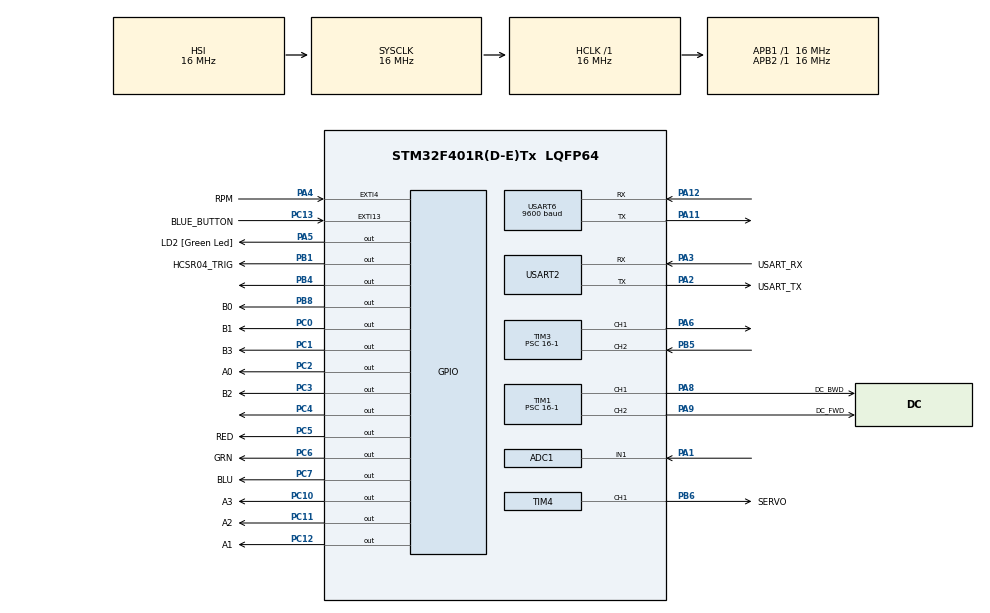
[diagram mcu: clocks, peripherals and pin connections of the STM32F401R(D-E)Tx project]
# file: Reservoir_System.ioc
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ADC1.Channel-0\#ChannelRegularConversion=ADC_CHANNEL_1
ADC1.NbrOfConversionFlag=1
ADC1.Rank-0\#ChannelRegularConversion=1
ADC1.Resolution=ADC_RESOLUTION_8B
ADC1.SamplingTime-0\#ChannelRegularConversion=ADC_SAMPLETIME_15CYCLES
ADC1.ScanConvMode=ENABLE
ADC1.master=1
Mcu.Family=STM32F4
Mcu.Name=STM32F401R(D-E)Tx
Mcu.Package=LQFP64
NVIC.EXTI4_IRQn=true\:0\:0\:false\:false\:true\:true\:true\:true
NVIC.PriorityGroup=NVIC_PRIORITYGROUP_0
NVIC.TIM3_IRQn=true\:0\:0\:false\:false\:true\:true\:true\:true
NVIC.TIM5_IRQn=true\:0\:0\:false\:false\:true\:true\:true\:true
NVIC.USART6_IRQn=true\:0\:0\:false\:false\:true\:true\:true\:true
PA1.Signal=ADCx_IN1
PA11.Mode=Asynchronous
PA11.Signal=USART6_TX
PA12.Mode=Asynchronous
PA12.Signal=USART6_RX
PA13.GPIO_Label=TMS
PA13.Mode=Serial_Wire
PA13.Signal=SYS_JTMS-SWDIO
PA14.GPIO_Label=TCK
PA14.Mode=Serial_Wire
PA14.Signal=SYS_JTCK-SWCLK
PA2.GPIO_Label=USART_TX
PA2.GPIO_Mode=GPIO_MODE_AF_PP
PA2.GPIO_PuPd=GPIO_NOPULL
PA2.GPIO_Speed=GPIO_SPEED_FREQ_LOW
PA2.Mode=Asynchronous
PA2.Signal=USART2_TX
PA3.GPIO_Label=USART_RX
PA3.GPIO_Mode=GPIO_MODE_AF_PP
PA3.GPIO_PuPd=GPIO_NOPULL
PA3.GPIO_Speed=GPIO_SPEED_FREQ_LOW
PA3.Mode=Asynchronous
PA3.Signal=USART2_RX
PA4.GPIO_Label=RPM
PA4.Signal=GPXTI4
PA5.GPIO_Label=LD2 [Green Led]
PA5.GPIO_Mode=GPIO_MODE_OUTPUT_PP
PA5.GPIO_PuPd=GPIO_NOPULL
PA5.GPIO_Speed=GPIO_SPEED_FREQ_LOW
PA5.Signal=GPIO_Output
PA6.Signal=S_TIM3_CH1
PA8.GPIO_Label=DC_BWD
PA8.Signal=S_TIM1_CH1
PA9.GPIO_Label=DC_FWD
PA9.Signal=S_TIM1_CH2
PB1.GPIO_Label=HCSR04_TRIG
PB1.Signal=GPIO_Output
PB3.GPIO_Label=SWO
PB3.Signal=SYS_JTDO-SWO
PB4.Signal=GPIO_Output
PB5.Signal=S_TIM3_CH2
PB6.GPIO_Label=SERVO
PB6.Signal=S_TIM4_CH1
PB8.GPIO_Label=B0
PB8.Signal=GPIO_Output
PC0.GPIO_Label=B1
PC0.Signal=GPIO_Output
PC1.GPIO_Label=B3
PC1.Signal=GPIO_Output
PC10.GPIO_Label=A3
PC10.Signal=GPIO_Output
PC11.GPIO_Label=A2
PC11.Signal=GPIO_Output
PC12.GPIO_Label=A1
PC12.Signal=GPIO_Output
PC13-ANTI_TAMP.GPIO_Label=BLUE_BUTTON
PC13-ANTI_TAMP.GPIO_ModeDefaultEXTI=GPIO_MODE_IT_FALLING
PC13-ANTI_TAMP.GPIO_PuPd=GPIO_NOPULL
PC13-ANTI_TAMP.Signal=GPXTI13
PC14-OSC32_IN.Mode=LSE-External-Oscillator
PC14-OSC32_IN.Signal=RCC_OSC32_IN
PC15-OSC32_OUT.Mode=LSE-External-Oscillator
PC15-OSC32_OUT.Signal=RCC_OSC32_OUT
PC2.GPIO_Label=A0
PC2.Signal=GPIO_Output
PC3.GPIO_Label=B2
PC3.Signal=GPIO_Output
PC4.Signal=GPIO_Output
PC5.GPIO_Label=RED
PC5.Signal=GPIO_Output
PC6.GPIO_Label=GRN
PC6.Signal=GPIO_Output
PC7.GPIO_Label=BLU
PC7.Signal=GPIO_Output
PH0\ -\ OSC_IN.Mode=HSE-External-Clock-Source
PH0\ -\ OSC_IN.Signal=RCC_OSC_IN
PH1\ -\ OSC_OUT.Mode=HSE-External-Clock-Source
PH1\ -\ OSC_OUT.Signal=RCC_OSC_OUT
ProjectManager.HeapSize=0x200
ProjectManager.StackSize=0x400
ProjectManager.TargetToolchain=STM32CubeIDE
RCC.48MHZClocksFreq_Value=48000000
RCC.AHBFreq_Value=16000000
RCC.APB1Freq_Value=16000000
RCC.APB1TimFreq_Value=16000000
RCC.APB2Freq_Value=16000000
RCC.APB2TimFreq_Value=16000000
RCC.CortexFreq_Value=16000000
RCC.HCLKFreq_Value=16000000
RCC.HSE_VALUE=8000000
RCC.HSI_VALUE=16000000
RCC.PLLN=336
RCC.PLLP=RCC_PLLP_DIV4
RCC.PLLQ=7
RCC.SYSCLKFreq_VALUE=16000000
RCC.VCOOutputFreq_Value=336000000
SH.ADCx_IN1.0=ADC1_IN1,IN1
SH.S_TIM1_CH1.0=TIM1_CH1,PWM Generation1 CH1
SH.S_TIM1_CH2.0=TIM1_CH2,PWM Generation2 CH2
SH.S_TIM3_CH1.0=TIM3_CH1,PWM Generation1 CH1
SH.S_TIM3_CH2.0=TIM3_CH2,Input_Capture2_from_TI2
SH.S_TIM4_CH1.0=TIM4_CH1,PWM Generation1 CH1
TIM1.Channel-PWM\ Generation1\ CH1=TIM_CHANNEL_1
TIM1.Channel-PWM\ Generation2\ CH2=TIM_CHANNEL_2
TIM1.Period=2000-1
TIM1.Prescaler=16-1
TIM1.Pulse-PWM\ Generation1\ CH1=1200-1
TIM3.AutoReloadPreload=TIM_AUTORELOAD_PRELOAD_DISABLE
TIM3.Channel-Input_Capture2_from_TI2=TIM_CHANNEL_2
TIM3.Channel-PWM\ Generation1\ CH1=TIM_CHANNEL_1
TIM3.ICPolarity_CH2=TIM_INPUTCHANNELPOLARITY_BOTHEDGE
TIM3.Period=65536-1
TIM3.Prescaler=16-1
TIM4.Channel-PWM\ Generation1\ CH1=TIM_CHANNEL_1
TIM4.Period=20000-1
TIM4.Prescaler=16-1
TIM4.Pulse-PWM\ Generation1\ CH1=500-1
TIM5.AutoReloadPreload=TIM_AUTORELOAD_PRELOAD_ENABLE
TIM5.Period=60000-1
TIM5.Prescaler=53-1
USART2.VirtualMode=VM_ASYNC
USART6.BaudRate=9600
USART6.Mode=MODE_TX_RX
USART6.VirtualMode=VM_ASYNC
VP_TIM3_VS_ClockSourceINT.Mode=Internal
VP_TIM5_VS_ClockSourceINT.Mode=Internal
board=NUCLEO-F401RE

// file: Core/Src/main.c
/* USER CODE BEGIN Header */
/**
  ******************************************************************************
  * @file           : main.c
  * @brief          : Main program body
  ******************************************************************************
  * @attention
  *
  * Copyright (c) 2024 STMicroelectronics.
  * All rights reserved.
  *
  * This software is licensed under terms that can be found in the LICENSE file
  * in the root directory of this software component.
  * If no LICENSE file comes with this software, it is provided AS-IS.
  *
  ******************************************************************************
  */
/* USER CODE END Header */
#include "main.h"

/* USER CODE BEGIN Includes */
#include <string.h>
#include <stdio.h>
/* USER CODE END Includes */

ADC_HandleTypeDef hadc1;

TIM_HandleTypeDef htim1;
TIM_HandleTypeDef htim3;
TIM_HandleTypeDef htim4;
TIM_HandleTypeDef htim5;

UART_HandleTypeDef huart2;
UART_HandleTypeDef huart6;

void SystemClock_Config(void);
static void MX_GPIO_Init(void);
static void MX_USART2_UART_Init(void);
static void MX_ADC1_Init(void);
static void MX_TIM3_Init(void);
static void MX_USART6_UART_Init(void);
static void MX_TIM5_Init(void);
static void MX_TIM1_Init(void);
static void MX_TIM4_Init(void);
/* USER CODE BEGIN PFP */
static void ADC_Select_CH(int CH);
/* USER CODE END PFP */

/* USER CODE BEGIN 0 */
void ADC_Select_CH(int CH) {
    ADC_ChannelConfTypeDef sConfig = {0};

switch(CH)
{
case 0:
sConfig.Channel = ADC_CHANNEL_0;
sConfig.Rank = 1;
if (HAL_ADC_ConfigChannel(&hadc1, &sConfig) != HAL_OK)
{
Error_Handler();
}
break;
case 1:
sConfig.Channel = ADC_CHANNEL_1;
sConfig.Rank = 1;
if (HAL_ADC_ConfigChannel(&hadc1, &sConfig) != HAL_OK)
{
Error_Handler();
}
break;
case 2:
sConfig.Channel = ADC_CHANNEL_2;
sConfig.Rank = 1;
if (HAL_ADC_ConfigChannel(&hadc1, &sConfig) != HAL_OK)
{
Error_Handler();
}
break;
case 3:
sConfig.Channel = ADC_CHANNEL_3;
sConfig.Rank = 1;
if (HAL_ADC_ConfigChannel(&hadc1, &sConfig) != HAL_OK)
{
Error_Handler();
}
break;
case 4:
sConfig.Channel = ADC_CHANNEL_4;
sConfig.Rank = 1;
if (HAL_ADC_ConfigChannel(&hadc1, &sConfig) != HAL_OK)
{
Error_Handler();
}
break;
case 5:
sConfig.Channel = ADC_CHANNEL_5;
sConfig.Rank = 1;
if (HAL_ADC_ConfigChannel(&hadc1, &sConfig) != HAL_OK)
{
Error_Handler();
}
break;
case 6:
sConfig.Channel = ADC_CHANNEL_6;
sConfig.Rank = 1;
if (HAL_ADC_ConfigChannel(&hadc1, &sConfig) != HAL_OK)
{
Error_Handler();
}
break;
case 7:
sConfig.Channel = ADC_CHANNEL_7;
sConfig.Rank = 1;
if (HAL_ADC_ConfigChannel(&hadc1, &sConfig) != HAL_OK)
{
Error_Handler();
}
break;
case 8:
sConfig.Channel = ADC_CHANNEL_8;
sConfig.Rank = 1;
if (HAL_ADC_ConfigChannel(&hadc1, &sConfig) != HAL_OK)
{
Error_Handler();
}
break;
case 9:
sConfig.Channel = ADC_CHANNEL_9;
sConfig.Rank = 1;
if (HAL_ADC_ConfigChannel(&hadc1, &sConfig) != HAL_OK)
{
Error_Handler();
}
break;
case 10:
sConfig.Channel = ADC_CHANNEL_10;
sConfig.Rank = 1;
if (HAL_ADC_ConfigChannel(&hadc1, &sConfig) != HAL_OK)
{
Error_Handler();
}
break;
case 11:
sConfig.Channel = ADC_CHANNEL_11;
sConfig.Rank = 1;
if (HAL_ADC_ConfigChannel(&hadc1, &sConfig) != HAL_OK)
{
Error_Handler();
}
break;
case 12:
sConfig.Channel = ADC_CHANNEL_12;
sConfig.Rank = 1;
if (HAL_ADC_ConfigChannel(&hadc1, &sConfig) != HAL_OK)
{
Error_Handler();
}
break;
case 13:
sConfig.Channel = ADC_CHANNEL_13;
sConfig.Rank = 1;
if (HAL_ADC_ConfigChannel(&hadc1, &sConfig) != HAL_OK)
{
Error_Handler();
}
break;
case 14:
sConfig.Channel = ADC_CHANNEL_14;
sConfig.Rank = 1;
if (HAL_ADC_ConfigChannel(&hadc1, &sConfig) != HAL_OK)
{
Error_Handler();
}
break;
case 15:
sConfig.Channel = ADC_CHANNEL_15;
sConfig.Rank = 1;
if (HAL_ADC_ConfigChannel(&hadc1, &sConfig) != HAL_OK)
{
Error_Handler();
}
break;
}
}

volatile uint8_t hcsr04_Rx_flag = 0;
volatile uint8_t first_edge = 0;
volatile uint16_t time_edge1 = 0;
volatile uint16_t time_edge2 = 0;
volatile uint8_t forcer = 0;
int setup_mode = 1;
uint8_t rcv_intpt_flag = 0;
uint8_t byte;

int connections[4] = {0};
int pwms[4] = {0};
int starts[4] = {0};
int stops[4] = {0};

int button_pushed = 0;
int rpm_tick_count = 0;

volatile uint8_t clock_hours = 0;
volatile uint8_t clock_mins = 0;
volatile uint16_t rpm_mins = 0;
volatile uint8_t clock_secs = 0;
volatile int depth = 1;

volatile int wall_clock_hr_update_flag = 0;
volatile int read_depth_flag = 0;

int active_zone = 0;

int manual_control = 0;

uint8_t ADC_CH9;

void change_pipe(void) {
	uint8_t txd_msg_buffer[64];
	for (int i=0; i<4; i++) {
		if (starts[i] == clock_hours){
			active_zone = i;
		    return;
		}
		else if (stops[i] == clock_hours) {
			HAL_UART_Transmit(&huart6, txd_msg_buffer, strlen((char*)txd_msg_buffer), 1000);
			active_zone = -1;
		}
	}
}

void emergency_mode() {
		uint8_t txd_msg_buffer[64];
		sprintf((char*)txd_msg_buffer, "\r\nRESERVOIR EMPTY!");
		HAL_UART_Transmit(&huart6, txd_msg_buffer, strlen((char*)txd_msg_buffer), 1000);
		HAL_TIM_PWM_Stop(&htim1, TIM_CHANNEL_1);
		while (1) {
			HAL_GPIO_WritePin(GPIOC, GRN_Pin, GPIO_PIN_SET);
			HAL_GPIO_WritePin(GPIOC, RED_Pin, GPIO_PIN_SET);
			HAL_GPIO_WritePin(GPIOC, BLU_Pin, GPIO_PIN_SET);
			HAL_Delay(500);
			HAL_GPIO_WritePin(GPIOC, GRN_Pin, GPIO_PIN_RESET);
			HAL_GPIO_WritePin(GPIOC, RED_Pin, GPIO_PIN_RESET);
			HAL_GPIO_WritePin(GPIOC, BLU_Pin, GPIO_PIN_RESET);
			HAL_Delay(500);
		}
	}

uint16_t time_diff = 0;
uint16_t distance = 0;

/* USER CODE END 0 */

int main(void)
{

  /* USER CODE BEGIN 1 */
	uint8_t txd_msg_buffer[64] = {'h'};

	void set_timer(uint8_t DIGIT_A, uint8_t DIGIT_B) {
				uint8_t DIGITA_VAL = 0x0F & DIGIT_A; //mask off higher4 bits
				 int Abit0 = (DIGITA_VAL ) & 1;  	// extract Abit0 of the 4-bit value
				 int Abit1 = (DIGITA_VAL >> 1) & 1;  // extract Abit1 of the 4-bit value
				 int Abit2 = (DIGITA_VAL >> 2) & 1;  // extract Abit2 of the 4-bit value
				 int Abit3 = (DIGITA_VAL >> 3) & 1;  // extract Abit3 of the 4-bit value

				 uint8_t DIGITB_VAL = 0x0F & DIGIT_B; //mask off higher4 bits
				 int Bbit0 = (DIGITB_VAL ) & 1;  	// extract Bbit0 of the 4-bit value
				 int Bbit1 = (DIGITB_VAL >> 1) & 1;  // extract Bbit1 of the 4-bit value
				 int Bbit2 = (DIGITB_VAL >> 2) & 1;  // extract Bbit2 of the 4-bit value
				 int Bbit3 = (DIGITB_VAL >> 3) & 1;  // extract Bbit3 of the 4-bit value

				 if (Abit0 == (0))
				 {
					 HAL_GPIO_WritePin(GPIOC, A0_Pin, GPIO_PIN_RESET);
				 }
				 else
				 {
					 HAL_GPIO_WritePin(GPIOC, A0_Pin, GPIO_PIN_SET);

				 }
				 if (Abit1 == (0))
				 {
					 HAL_GPIO_WritePin(GPIOC, A1_Pin, GPIO_PIN_RESET);
				 }
				 else
				 {
					 HAL_GPIO_WritePin(GPIOC, A1_Pin, GPIO_PIN_SET);

				 }
				 if (Abit2 == (0))
				 {
					 HAL_GPIO_WritePin(GPIOC, A2_Pin, GPIO_PIN_RESET);
				 }
				 else
				 {
					 HAL_GPIO_WritePin(GPIOC, A2_Pin, GPIO_PIN_SET);

				 }
				 if (Abit3 == (0))
				 {
					 HAL_GPIO_WritePin(GPIOC, A3_Pin, GPIO_PIN_RESET);
				 }
				 else
				 {
					 HAL_GPIO_WritePin(GPIOC, A3_Pin, GPIO_PIN_SET);

				 }

				 if (Bbit0 == (0))
				 {
					 HAL_GPIO_WritePin(GPIOB, B0_Pin, GPIO_PIN_RESET);
				 }
				 else
				 {
					 HAL_GPIO_WritePin(GPIOC, B0_Pin, GPIO_PIN_SET);

				 }
				 if (Bbit1 == (0))
				 {
					 HAL_GPIO_WritePin(GPIOC, B1_Pin, GPIO_PIN_RESET);
				 }
				 else
				 {
					 HAL_GPIO_WritePin(GPIOC, B1_Pin, GPIO_PIN_SET);

				 }
				 if (Bbit2 == (0))
				 {
					 HAL_GPIO_WritePin(GPIOC, B2_Pin, GPIO_PIN_RESET);
				 }
				 else
				 {
					 HAL_GPIO_WritePin(GPIOC, B2_Pin, GPIO_PIN_SET);

				 }
				 if (Bbit3 == (0))
				 {
					 HAL_GPIO_WritePin(GPIOC, B3_Pin, GPIO_PIN_RESET);
				 }
				 else
				 {
					 HAL_GPIO_WritePin(GPIOC, B3_Pin, GPIO_PIN_SET);

				 }

		}

	void HCSR04_TRIG_PULSE(void) {
				HAL_GPIO_WritePin(HCSR04_TRIG_GPIO_Port, HCSR04_TRIG_Pin, GPIO_PIN_SET);
				for (int j=0; j!=15; j++) {};
				HAL_GPIO_WritePin(HCSR04_TRIG_GPIO_Port, HCSR04_TRIG_Pin, GPIO_PIN_RESET);
			}

	void read_depth(void) {
			hcsr04_Rx_flag = 0;
			 first_edge = 0;
			 time_edge1 = 0;
			 time_edge2 = 0;
			 time_diff = 0;
			 distance = 0;

			 HCSR04_TRIG_PULSE();

			 HAL_GPIO_WritePin(GPIOB, GPIO_PIN_4, GPIO_PIN_SET);

			 while(hcsr04_Rx_flag == 0){

			 };

			 time_diff = time_edge2 - time_edge1;

			 depth = 100 - time_diff/58 * 5;

			 if (depth < 0) {
				 emergency_mode();
			 }

			 set_timer((int)(depth/10), depth%10);
		}

	void reset_outputs() {
		TIM1->CCR2 = 0;
		TIM1->CCR1 = 0;
		HAL_GPIO_WritePin(GPIOC, GRN_Pin, GPIO_PIN_RESET);
		HAL_GPIO_WritePin(GPIOC, RED_Pin, GPIO_PIN_RESET);
		HAL_GPIO_WritePin(GPIOC, BLU_Pin, GPIO_PIN_RESET);
	}

	//HAL_GPIO_WritePin(GPIOC, B1_Pin|B3_Pin|A0_Pin|B2_Pin
//    |GPIO_PIN_4|RED_Pin|GRN_Pin|BLU_Pin
//    |A3_Pin|A2_Pin|A1_Pin, GPIO_PIN_RESET);

	void set_motor(uint8_t percent, int forward) {
		rpm_mins = 1;
		rpm_tick_count = 0;

		if (percent == 0) manual_control = 1;
		else manual_control = 0;

		if (manual_control) {
			//manual control, set to adc value
			ADC_Select_CH(1);
			HAL_ADC_Start(&hadc1);
			HAL_ADC_PollForConversion(&hadc1, 1000);
			ADC_CH9 = HAL_ADC_GetValue(&hadc1);
			HAL_ADC_Stop(&hadc1);
			//turn adc into percent by multipling by 100 and dividing by 255
			percent = ADC_CH9 * 100 / 255;
		}

		if (forward) {
			TIM1->CCR2 = 0;
			TIM1->CCR1 = percent ? (uint32_t)(2000*percent/100) - 1 : 0;
		} else {
			TIM1->CCR1 = 0;
			TIM1->CCR2 = percent ? (uint32_t)(2000*percent/100) - 1 : 0;
		}
	}

	void set_servo(int pipe) {
		switch(pipe){
			case 0:
				TIM4->CCR1 = 500;
				break;
			case 1:
				TIM4->CCR1 = 1167;
				break;
			case 2:
				TIM4->CCR1 = 1833;
				break;
			case 3:
				TIM4->CCR1 = 2500;
				break;

		}
	}

	void set_led(int pipe) {
		switch(pipe) {
		 	 case 0:
		 		 HAL_GPIO_WritePin(GPIOC, GRN_Pin, GPIO_PIN_RESET);
		 		 HAL_GPIO_WritePin(GPIOC, RED_Pin, GPIO_PIN_SET);
		 		 HAL_GPIO_WritePin(GPIOC, BLU_Pin, GPIO_PIN_SET);
		 		 break;
		 	 case 1:
		 		 HAL_GPIO_WritePin(GPIOC, RED_Pin, GPIO_PIN_SET);
		 		 HAL_GPIO_WritePin(GPIOC, GRN_Pin, GPIO_PIN_RESET);
		 		 HAL_GPIO_WritePin(GPIOC, BLU_Pin, GPIO_PIN_RESET);
		 		 break;
		 	 case 2:
		 		HAL_GPIO_WritePin(GPIOC, GRN_Pin, GPIO_PIN_SET);
		 		HAL_GPIO_WritePin(GPIOC, RED_Pin, GPIO_PIN_RESET);
		 		HAL_GPIO_WritePin(GPIOC, GRN_Pin, GPIO_PIN_SET);
		 		break;
		 	 case 3:
		 		HAL_GPIO_WritePin(GPIOC, GRN_Pin, GPIO_PIN_RESET);
		 		HAL_GPIO_WritePin(GPIOC, RED_Pin, GPIO_PIN_RESET);
		 		HAL_GPIO_WritePin(GPIOC, BLU_Pin, GPIO_PIN_SET);

		}
	}

	void print_diagnostics(void) {
//HOURS | MINS | ZONE | MOTOR SPEED | MOTOR RPM | RESERVOIR DEPTH

		sprintf((char*)txd_msg_buffer, "\r\n%d, %d, %d, %d, %d, %d", clock_hours,
				clock_mins, active_zone, active_zone != -1 ? (pwms[active_zone] ?
				pwms[0] : ADC_CH9) : 0,
				rpm_tick_count*12/rpm_mins, depth);
		HAL_UART_Transmit(&huart6, txd_msg_buffer, strlen((char*)txd_msg_buffer), 1000);
	}

  /* USER CODE END 1 */

  /* MCU Configuration--------------------------------------------------------*/

  /* Reset of all peripherals, Initializes the Flash interface and the Systick. */
  HAL_Init();

  /* Configure the system clock */
  SystemClock_Config();

  /* Initialize all configured peripherals */
  MX_GPIO_Init();
  MX_USART2_UART_Init();
  MX_ADC1_Init();
  MX_TIM3_Init();
  MX_USART6_UART_Init();
  MX_TIM5_Init();
  MX_TIM1_Init();
  MX_TIM4_Init();
  /* USER CODE BEGIN 2 */
  HAL_TIM_Base_Init(&htim3);
  HAL_TIM_Base_Start(&htim3);
  HAL_TIM_IC_Start_IT(&htim3, TIM_CHANNEL_2);
  HAL_TIM_Base_Init(&htim1);
  HAL_TIM_PWM_Start(&htim1, TIM_CHANNEL_1);
  HAL_TIM_PWM_Start(&htim1, TIM_CHANNEL_2);
  TIM1->CCR1 = 0;
  clock_hours = 0;
  clock_mins = 0;
  clock_secs = 0;

  HAL_TIM_Base_Start(&htim4);
  TIM4->PSC = 16-1;
  TIM4->ARR = 20000-1;

  /* USER CODE END 2 */

  /* Infinite loop */
  /* USER CODE BEGIN WHILE */
  sprintf((char*)txd_msg_buffer, "\r\nFIRST PIPELINE CHOICE FOR CONNECTION: ");
  while (1)
  {
	  if (setup_mode) {
		  rcv_intpt_flag = 00;
		  HAL_UART_Transmit(&huart6, txd_msg_buffer, strlen((char*)txd_msg_buffer), 1000);
		  HAL_UART_Receive_IT(&huart6, &byte, 1);
		  while(rcv_intpt_flag == 00) {};
		  connections[0] = (byte-'0');
		  rcv_intpt_flag = 00;

		  sprintf((char*)txd_msg_buffer, "\r\nFIRST PIPELINE CHOICE FOR MOTOR PWM: ");
		  HAL_UART_Transmit(&huart6, txd_msg_buffer, strlen((char*)txd_msg_buffer), 1000);
		  HAL_UART_Receive_IT(&huart6, &byte, 1);
		  while(rcv_intpt_flag == 00) {};
		  rcv_intpt_flag = 00;
		  pwms[0] += (byte-'0')*10;
		  HAL_UART_Receive_IT(&huart6, &byte, 1);
		  while(rcv_intpt_flag == 00) {};
		  pwms[0] += (byte-'0');
		  rcv_intpt_flag = 00;

		  sprintf((char*)txd_msg_buffer, "\r\nSECOND ZONE CHOICE FOR CONNECTION: ");
		  HAL_UART_Transmit(&huart6, txd_msg_buffer, strlen((char*)txd_msg_buffer), 1000);
		  HAL_UART_Receive_IT(&huart6, &byte, 1);
		  while(rcv_intpt_flag == 00) {};
		  connections[1] = (byte-'0');
		  rcv_intpt_flag = 00;

		  sprintf((char*)txd_msg_buffer, "\r\nSECOND PIPELINE CHOICE FOR MOTOR PWM: ");
		  HAL_UART_Transmit(&huart6, txd_msg_buffer, strlen((char*)txd_msg_buffer), 1000);
		  HAL_UART_Receive_IT(&huart6, &byte, 1);
		  while(rcv_intpt_flag == 00) {};
		  rcv_intpt_flag = 00;
		  pwms[1] += (byte-'0')*10;
		  HAL_UART_Receive_IT(&huart6, &byte, 1);
		  while(rcv_intpt_flag == 00) {};
		  pwms[1] += (byte-'0');
		  rcv_intpt_flag = 00;

		  sprintf((char*)txd_msg_buffer, "\r\nTHIRD ZONE CHOICE FOR CONNECTION: ");
		  HAL_UART_Transmit(&huart6, txd_msg_buffer, strlen((char*)txd_msg_buffer), 1000);
		  HAL_UART_Receive_IT(&huart6, &byte, 1);
		  while(rcv_intpt_flag == 00) {};
		  connections[2] = (byte-'0');
		  rcv_intpt_flag = 00;

		  sprintf((char*)txd_msg_buffer, "\r\nTHIRD PIPELINE CHOICE FOR MOTOR PWM: ");
		  HAL_UART_Transmit(&huart6, txd_msg_buffer, strlen((char*)txd_msg_buffer), 1000);
		  HAL_UART_Receive_IT(&huart6, &byte, 1);
		  while(rcv_intpt_flag == 00) {};
		  rcv_intpt_flag = 00;
		  pwms[2] += (byte-'0')*10;
		  HAL_UART_Receive_IT(&huart6, &byte, 1);
		  while(rcv_intpt_flag == 00) {};
		  pwms[2] += (byte-'0');
		  rcv_intpt_flag = 00;

		  sprintf((char*)txd_msg_buffer, "\r\nFOURTH ZONE CHOICE FOR CONNECTION: ");
		  HAL_UART_Transmit(&huart6, txd_msg_buffer, strlen((char*)txd_msg_buffer), 1000);
		  HAL_UART_Receive_IT(&huart6, &byte, 1);
		  while(rcv_intpt_flag == 00) {};
		  connections[3] = (byte-'0');
		  rcv_intpt_flag = 00;

		  sprintf((char*)txd_msg_buffer, "\r\nFOURTH PIPELINE CHOICE FOR MOTOR PWM: ");
		  HAL_UART_Transmit(&huart6, txd_msg_buffer, strlen((char*)txd_msg_buffer), 1000);
		  HAL_UART_Receive_IT(&huart6, &byte, 1);
		  while(rcv_intpt_flag == 00) {};
		  rcv_intpt_flag = 00;
		  pwms[3] += (byte-'0')*10;
		  HAL_UART_Receive_IT(&huart6, &byte, 1);
		  while(rcv_intpt_flag == 00) {};
		  pwms[3] += (byte-'0');
		  rcv_intpt_flag = 00;

		  // setup part b:
		  sprintf((char*)txd_msg_buffer, "\r\nINLET WALL CLOCK START TIME: ");
		  rcv_intpt_flag = 00;
		  HAL_UART_Transmit(&huart6, txd_msg_buffer, strlen((char*)txd_msg_buffer), 1000);
		  HAL_UART_Receive_IT(&huart6, &byte, 1);
		  while(rcv_intpt_flag == 00) {};
		  rcv_intpt_flag = 00;
		  starts[0] += (byte-'0')*10;
		  HAL_UART_Receive_IT(&huart6, &byte, 1);
		  while(rcv_intpt_flag == 00) {};
		  starts[0] += (byte-'0');
		  rcv_intpt_flag = 00;

		  sprintf((char*)txd_msg_buffer, "\r\nINLET WALL CLOCK STOP TIME: ");
		  HAL_UART_Transmit(&huart6, txd_msg_buffer, strlen((char*)txd_msg_buffer), 1000);
		  HAL_UART_Receive_IT(&huart6, &byte, 1);
		  while(rcv_intpt_flag == 00) {};
		  rcv_intpt_flag = 00;
		  stops[0] += (byte-'0')*10;
		  HAL_UART_Receive_IT(&huart6, &byte, 1);
		  while(rcv_intpt_flag == 00) {};
		  stops[0] += (byte-'0');
		  rcv_intpt_flag = 00;

		  sprintf((char*)txd_msg_buffer, "\r\nFIRST ZONE WALL CLOCK START TIME: ");
		  HAL_UART_Transmit(&huart6, txd_msg_buffer, strlen((char*)txd_msg_buffer), 1000);
		  HAL_UART_Receive_IT(&huart6, &byte, 1);
		  while(rcv_intpt_flag == 00) {};
		  rcv_intpt_flag = 00;
		  starts[1] += (byte-'0')*10;
		  HAL_UART_Receive_IT(&huart6, &byte, 1);
		  while(rcv_intpt_flag == 00) {};
		  starts[1] += (byte-'0');
		  rcv_intpt_flag = 00;

		  sprintf((char*)txd_msg_buffer, "\r\nFIRST ZONE WALL CLOCK STOP TIME: ");
		  HAL_UART_Transmit(&huart6, txd_msg_buffer, strlen((char*)txd_msg_buffer), 1000);
		  HAL_UART_Receive_IT(&huart6, &byte, 1);
		  while(rcv_intpt_flag == 00) {};
		  rcv_intpt_flag = 00;
		  stops[1] += (byte-'0')*10;
		  HAL_UART_Receive_IT(&huart6, &byte, 1);
		  while(rcv_intpt_flag == 00) {};
		  stops[1] += (byte-'0');
		  rcv_intpt_flag = 00;

		  sprintf((char*)txd_msg_buffer, "\r\nSECOND ZONE WALL CLOCK START TIME: ");
		  HAL_UART_Transmit(&huart6, txd_msg_buffer, strlen((char*)txd_msg_buffer), 1000);
		  HAL_UART_Receive_IT(&huart6, &byte, 1);
		  while(rcv_intpt_flag == 00) {};
		  rcv_intpt_flag = 00;
		  starts[2] += (byte-'0')*10;
		  HAL_UART_Receive_IT(&huart6, &byte, 1);
		  while(rcv_intpt_flag == 00) {};
		  starts[2] += (byte-'0');
		  rcv_intpt_flag = 00;

		  sprintf((char*)txd_msg_buffer, "\r\nSECOND ZONE WALL CLOCK STOP TIME: ");
		  HAL_UART_Transmit(&huart6, txd_msg_buffer, strlen((char*)txd_msg_buffer), 1000);
		  HAL_UART_Receive_IT(&huart6, &byte, 1);
		  while(rcv_intpt_flag == 00) {};
		  rcv_intpt_flag = 00;
		  stops[2] += (byte-'0')*10;
		  HAL_UART_Receive_IT(&huart6, &byte, 1);
		  while(rcv_intpt_flag == 00) {};
		  stops[2] += (byte-'0');
		  rcv_intpt_flag = 00;

		  sprintf((char*)txd_msg_buffer, "\r\nTHIRD ZONE WALL CLOCK START TIME: ");
		  HAL_UART_Transmit(&huart6, txd_msg_buffer, strlen((char*)txd_msg_buffer), 1000);
		  HAL_UART_Receive_IT(&huart6, &byte, 1);
		  while(rcv_intpt_flag == 00) {};
		  rcv_intpt_flag = 00;
		  starts[3] += (byte-'0')*10;
		  HAL_UART_Receive_IT(&huart6, &byte, 1);
		  while(rcv_intpt_flag == 00) {};
		  starts[3] += (byte-'0');
		  rcv_intpt_flag = 00;

		  sprintf((char*)txd_msg_buffer, "\r\nTHIRD ZONE WALL CLOCK STOP TIME: ");
		  HAL_UART_Transmit(&huart6, txd_msg_buffer, strlen((char*)txd_msg_buffer), 1000);
		  HAL_UART_Receive_IT(&huart6, &byte, 1);
		  while(rcv_intpt_flag == 00) {};
		  rcv_intpt_flag = 00;
		  stops[3] += (byte-'0')*10;
		  HAL_UART_Receive_IT(&huart6, &byte, 1);
		  while(rcv_intpt_flag == 00) {};
		  stops[3] += (byte-'0');
		  rcv_intpt_flag = 00;

		  setup_mode = 0;

		  sprintf((char*)txd_msg_buffer, "\r\nSETUP MODE COMPLETE!");
		  HAL_UART_Transmit(&huart6, txd_msg_buffer, strlen((char*)txd_msg_buffer), 1000);

		  sprintf((char*)txd_msg_buffer, "\r\nPARAMETERS: ");
		  HAL_UART_Transmit(&huart6, txd_msg_buffer, strlen((char*)txd_msg_buffer), 1000);

		  sprintf((char*)txd_msg_buffer, "\r\nCONNECTION 1: %d", connections[0]);
		  HAL_UART_Transmit(&huart6, txd_msg_buffer, strlen((char*)txd_msg_buffer), 1000);

		  sprintf((char*)txd_msg_buffer, "\r\nPWM 1: %d", pwms[0]);
		  HAL_UART_Transmit(&huart6, txd_msg_buffer, strlen((char*)txd_msg_buffer), 1000);

		  sprintf((char*)txd_msg_buffer, "\r\nCONNECTION 2: %d", connections[1]);
		  HAL_UART_Transmit(&huart6, txd_msg_buffer, strlen((char*)txd_msg_buffer), 1000);

		  sprintf((char*)txd_msg_buffer, "\r\nPWM 2: %d", pwms[1]);
		  HAL_UART_Transmit(&huart6, txd_msg_buffer, strlen((char*)txd_msg_buffer), 1000);

		  sprintf((char*)txd_msg_buffer, "\r\nCONNECTION 3: %d", connections[2]);
		  HAL_UART_Transmit(&huart6, txd_msg_buffer, strlen((char*)txd_msg_buffer), 1000);

		  sprintf((char*)txd_msg_buffer, "\r\nPWM 3: %d", pwms[2]);
		  HAL_UART_Transmit(&huart6, txd_msg_buffer, strlen((char*)txd_msg_buffer), 1000);

		  sprintf((char*)txd_msg_buffer, "\r\nCONNECTION 4: %d", connections[3]);
		  HAL_UART_Transmit(&huart6, txd_msg_buffer, strlen((char*)txd_msg_buffer), 1000);

		  sprintf((char*)txd_msg_buffer, "\r\nPWM 4: %d", pwms[3]);
		  HAL_UART_Transmit(&huart6, txd_msg_buffer, strlen((char*)txd_msg_buffer), 1000);

		  sprintf((char*)txd_msg_buffer, "\r\nSTART INLET: %d", starts[0]);
		  HAL_UART_Transmit(&huart6, txd_msg_buffer, strlen((char*)txd_msg_buffer), 1000);

		  sprintf((char*)txd_msg_buffer, "\r\nSTOP INLET: %d", stops[0]);
		  HAL_UART_Transmit(&huart6, txd_msg_buffer, strlen((char*)txd_msg_buffer), 1000);

		  sprintf((char*)txd_msg_buffer, "\r\nSTART ZONE 1: %d", starts[1]);
		  HAL_UART_Transmit(&huart6, txd_msg_buffer, strlen((char*)txd_msg_buffer), 1000);

		  sprintf((char*)txd_msg_buffer, "\r\nSTOP ZONE 1 %d", stops[1]);
		  HAL_UART_Transmit(&huart6, txd_msg_buffer, strlen((char*)txd_msg_buffer), 1000);

		  sprintf((char*)txd_msg_buffer, "\r\nSTART ZONE 2: %d", starts[2]);
		  HAL_UART_Transmit(&huart6, txd_msg_buffer, strlen((char*)txd_msg_buffer), 1000);

		  sprintf((char*)txd_msg_buffer, "\r\nSTOP ZONE 2: %d", stops[2]);
		  HAL_UART_Transmit(&huart6, txd_msg_buffer, strlen((char*)txd_msg_buffer), 1000);

		  sprintf((char*)txd_msg_buffer, "\r\nSTART ZONE 3: %d", starts[3]);
		  HAL_UART_Transmit(&huart6, txd_msg_buffer, strlen((char*)txd_msg_buffer), 1000);

		  sprintf((char*)txd_msg_buffer, "\r\nSTOP ZONE 3: %d", stops[3]);
		  HAL_UART_Transmit(&huart6, txd_msg_buffer, strlen((char*)txd_msg_buffer), 1000);

		  sprintf((char*)txd_msg_buffer, "\r\nPRESS BLUE PUSHBUTTON TO CONTINUE");
		  HAL_UART_Transmit(&huart6, txd_msg_buffer, strlen((char*)txd_msg_buffer), 1000);

		  HAL_NVIC_SetPriority(EXTI15_10_IRQn, 2, 0); // Set priority for EXTI lines 10-15
		  HAL_NVIC_EnableIRQ(EXTI15_10_IRQn);

		  while (!button_pushed) {
			  HAL_GPIO_WritePin(GPIOC, GRN_Pin, GPIO_PIN_SET);

			  HAL_Delay(500);
			  HAL_GPIO_WritePin(GPIOC, GRN_Pin, GPIO_PIN_RESET);
			  HAL_Delay(500);

		  }

		  change_pipe();

		  HAL_TIM_Base_Start_IT(&htim5);
		  HAL_TIM_PWM_Start(&htim4, TIM_CHANNEL_1);

		  reset_outputs();

		  sprintf((char*)txd_msg_buffer, "\r\nHOURS | MINS | ZONE | MOTOR SPEED | MOTOR RPM | RESERVOIR DEPTH");
		  HAL_UART_Transmit(&huart6, txd_msg_buffer, strlen((char*)txd_msg_buffer), 1000);
		  read_depth();
		  print_diagnostics();

	  }
	  else {

		  //ok we have all of our settings. Now we must start the inlet
		 set_led(connections[active_zone]);
		 set_servo(connections[active_zone]);
		 set_motor(pwms[active_zone], active_zone != 0);
		 //keep checking for hour change
		 if (active_zone != -1) {
			 set_led(connections[active_zone]);
			 set_servo(connections[active_zone]);
			 set_motor(pwms[active_zone], active_zone!=0);
		 } else {
			 reset_outputs();
		 }
		 read_depth();
		 while (!wall_clock_hr_update_flag) {}

		 change_pipe();
		 print_diagnostics();

		 wall_clock_hr_update_flag = 0;
		}

	  if (clock_hours >= 24) {
		  reset_outputs();
		  while (1) {}
	  }

    /* USER CODE END WHILE */

  }
}

void SystemClock_Config(void)
{
  RCC_OscInitTypeDef RCC_OscInitStruct = {0};
  RCC_ClkInitTypeDef RCC_ClkInitStruct = {0};

  /** Configure the main internal regulator output voltage
  */
  __HAL_RCC_PWR_CLK_ENABLE();
  __HAL_PWR_VOLTAGESCALING_CONFIG(PWR_REGULATOR_VOLTAGE_SCALE2);

  /** Initializes the RCC Oscillators according to the specified parameters
  * in the RCC_OscInitTypeDef structure.
  */
  RCC_OscInitStruct.OscillatorType = RCC_OSCILLATORTYPE_HSI;
  RCC_OscInitStruct.HSIState = RCC_HSI_ON;
  RCC_OscInitStruct.HSICalibrationValue = RCC_HSICALIBRATION_DEFAULT;
  RCC_OscInitStruct.PLL.PLLState = RCC_PLL_NONE;
  if (HAL_RCC_OscConfig(&RCC_OscInitStruct) != HAL_OK)
  {
    Error_Handler();
  }

  /** Initializes the CPU, AHB and APB buses clocks
  */
  RCC_ClkInitStruct.ClockType = RCC_CLOCKTYPE_HCLK|RCC_CLOCKTYPE_SYSCLK
                              |RCC_CLOCKTYPE_PCLK1|RCC_CLOCKTYPE_PCLK2;
  RCC_ClkInitStruct.SYSCLKSource = RCC_SYSCLKSOURCE_HSI;
  RCC_ClkInitStruct.AHBCLKDivider = RCC_SYSCLK_DIV1;
  RCC_ClkInitStruct.APB1CLKDivider = RCC_HCLK_DIV1;
  RCC_ClkInitStruct.APB2CLKDivider = RCC_HCLK_DIV1;

  if (HAL_RCC_ClockConfig(&RCC_ClkInitStruct, FLASH_LATENCY_0) != HAL_OK)
  {
    Error_Handler();
  }
}

static void MX_ADC1_Init(void)
{

  ADC_ChannelConfTypeDef sConfig = {0};

  /** Configure the global features of the ADC (Clock, Resolution, Data Alignment and number of conversion)
  */
  hadc1.Instance = ADC1;
  hadc1.Init.ClockPrescaler = ADC_CLOCK_SYNC_PCLK_DIV2;
  hadc1.Init.Resolution = ADC_RESOLUTION_8B;
  hadc1.Init.ScanConvMode = ENABLE;
  hadc1.Init.ContinuousConvMode = DISABLE;
  hadc1.Init.DiscontinuousConvMode = DISABLE;
  hadc1.Init.ExternalTrigConvEdge = ADC_EXTERNALTRIGCONVEDGE_NONE;
  hadc1.Init.ExternalTrigConv = ADC_SOFTWARE_START;
  hadc1.Init.DataAlign = ADC_DATAALIGN_RIGHT;
  hadc1.Init.NbrOfConversion = 1;
  hadc1.Init.DMAContinuousRequests = DISABLE;
  hadc1.Init.EOCSelection = ADC_EOC_SINGLE_CONV;
  if (HAL_ADC_Init(&hadc1) != HAL_OK)
  {
    Error_Handler();
  }

  /** Configure for the selected ADC regular channel its corresponding rank in the sequencer and its sample time.
  */
  sConfig.Channel = ADC_CHANNEL_1;
  sConfig.Rank = 1;
  sConfig.SamplingTime = ADC_SAMPLETIME_15CYCLES;
  if (HAL_ADC_ConfigChannel(&hadc1, &sConfig) != HAL_OK)
  {
    Error_Handler();
  }

}

static void MX_TIM1_Init(void)
{

  TIM_MasterConfigTypeDef sMasterConfig = {0};
  TIM_OC_InitTypeDef sConfigOC = {0};
  TIM_BreakDeadTimeConfigTypeDef sBreakDeadTimeConfig = {0};

  htim1.Instance = TIM1;
  htim1.Init.Prescaler = 16-1;
  htim1.Init.CounterMode = TIM_COUNTERMODE_UP;
  htim1.Init.Period = 2000-1;
  htim1.Init.ClockDivision = TIM_CLOCKDIVISION_DIV1;
  htim1.Init.RepetitionCounter = 0;
  htim1.Init.AutoReloadPreload = TIM_AUTORELOAD_PRELOAD_DISABLE;
  if (HAL_TIM_PWM_Init(&htim1) != HAL_OK)
  {
    Error_Handler();
  }
  sMasterConfig.MasterOutputTrigger = TIM_TRGO_RESET;
  sMasterConfig.MasterSlaveMode = TIM_MASTERSLAVEMODE_DISABLE;
  if (HAL_TIMEx_MasterConfigSynchronization(&htim1, &sMasterConfig) != HAL_OK)
  {
    Error_Handler();
  }
  sConfigOC.OCMode = TIM_OCMODE_PWM1;
  sConfigOC.Pulse = 1200-1;
  sConfigOC.OCPolarity = TIM_OCPOLARITY_HIGH;
  sConfigOC.OCNPolarity = TIM_OCNPOLARITY_HIGH;
  sConfigOC.OCFastMode = TIM_OCFAST_DISABLE;
  sConfigOC.OCIdleState = TIM_OCIDLESTATE_RESET;
  sConfigOC.OCNIdleState = TIM_OCNIDLESTATE_RESET;
  if (HAL_TIM_PWM_ConfigChannel(&htim1, &sConfigOC, TIM_CHANNEL_1) != HAL_OK)
  {
    Error_Handler();
  }
  sConfigOC.Pulse = 0;
  if (HAL_TIM_PWM_ConfigChannel(&htim1, &sConfigOC, TIM_CHANNEL_2) != HAL_OK)
  {
    Error_Handler();
  }
  sBreakDeadTimeConfig.OffStateRunMode = TIM_OSSR_DISABLE;
  sBreakDeadTimeConfig.OffStateIDLEMode = TIM_OSSI_DISABLE;
  sBreakDeadTimeConfig.LockLevel = TIM_LOCKLEVEL_OFF;
  sBreakDeadTimeConfig.DeadTime = 0;
  sBreakDeadTimeConfig.BreakState = TIM_BREAK_DISABLE;
  sBreakDeadTimeConfig.BreakPolarity = TIM_BREAKPOLARITY_HIGH;
  sBreakDeadTimeConfig.AutomaticOutput = TIM_AUTOMATICOUTPUT_DISABLE;
  if (HAL_TIMEx_ConfigBreakDeadTime(&htim1, &sBreakDeadTimeConfig) != HAL_OK)
  {
    Error_Handler();
  }
  HAL_TIM_MspPostInit(&htim1);

}

static void MX_TIM3_Init(void)
{

  TIM_ClockConfigTypeDef sClockSourceConfig = {0};
  TIM_MasterConfigTypeDef sMasterConfig = {0};
  TIM_OC_InitTypeDef sConfigOC = {0};
  TIM_IC_InitTypeDef sConfigIC = {0};

  htim3.Instance = TIM3;
  htim3.Init.Prescaler = 16-1;
  htim3.Init.CounterMode = TIM_COUNTERMODE_UP;
  htim3.Init.Period = 65536-1;
  htim3.Init.ClockDivision = TIM_CLOCKDIVISION_DIV1;
  htim3.Init.AutoReloadPreload = TIM_AUTORELOAD_PRELOAD_DISABLE;
  if (HAL_TIM_Base_Init(&htim3) != HAL_OK)
  {
    Error_Handler();
  }
  sClockSourceConfig.ClockSource = TIM_CLOCKSOURCE_INTERNAL;
  if (HAL_TIM_ConfigClockSource(&htim3, &sClockSourceConfig) != HAL_OK)
  {
    Error_Handler();
  }
  if (HAL_TIM_PWM_Init(&htim3) != HAL_OK)
  {
    Error_Handler();
  }
  if (HAL_TIM_IC_Init(&htim3) != HAL_OK)
  {
    Error_Handler();
  }
  sMasterConfig.MasterOutputTrigger = TIM_TRGO_RESET;
  sMasterConfig.MasterSlaveMode = TIM_MASTERSLAVEMODE_DISABLE;
  if (HAL_TIMEx_MasterConfigSynchronization(&htim3, &sMasterConfig) != HAL_OK)
  {
    Error_Handler();
  }
  sConfigOC.OCMode = TIM_OCMODE_PWM1;
  sConfigOC.Pulse = 0;
  sConfigOC.OCPolarity = TIM_OCPOLARITY_HIGH;
  sConfigOC.OCFastMode = TIM_OCFAST_DISABLE;
  if (HAL_TIM_PWM_ConfigChannel(&htim3, &sConfigOC, TIM_CHANNEL_1) != HAL_OK)
  {
    Error_Handler();
  }
  sConfigIC.ICPolarity = TIM_INPUTCHANNELPOLARITY_BOTHEDGE;
  sConfigIC.ICSelection = TIM_ICSELECTION_DIRECTTI;
  sConfigIC.ICPrescaler = TIM_ICPSC_DIV1;
  sConfigIC.ICFilter = 0;
  if (HAL_TIM_IC_ConfigChannel(&htim3, &sConfigIC, TIM_CHANNEL_2) != HAL_OK)
  {
    Error_Handler();
  }
  HAL_TIM_MspPostInit(&htim3);

}

static void MX_TIM4_Init(void)
{

  TIM_MasterConfigTypeDef sMasterConfig = {0};
  TIM_OC_InitTypeDef sConfigOC = {0};

  htim4.Instance = TIM4;
  htim4.Init.Prescaler = 16-1;
  htim4.Init.CounterMode = TIM_COUNTERMODE_UP;
  htim4.Init.Period = 20000-1;
  htim4.Init.ClockDivision = TIM_CLOCKDIVISION_DIV1;
  htim4.Init.AutoReloadPreload = TIM_AUTORELOAD_PRELOAD_DISABLE;
  if (HAL_TIM_PWM_Init(&htim4) != HAL_OK)
  {
    Error_Handler();
  }
  sMasterConfig.MasterOutputTrigger = TIM_TRGO_RESET;
  sMasterConfig.MasterSlaveMode = TIM_MASTERSLAVEMODE_DISABLE;
  if (HAL_TIMEx_MasterConfigSynchronization(&htim4, &sMasterConfig) != HAL_OK)
  {
    Error_Handler();
  }
  sConfigOC.OCMode = TIM_OCMODE_PWM1;
  sConfigOC.Pulse = 500-1;
  sConfigOC.OCPolarity = TIM_OCPOLARITY_HIGH;
  sConfigOC.OCFastMode = TIM_OCFAST_DISABLE;
  if (HAL_TIM_PWM_ConfigChannel(&htim4, &sConfigOC, TIM_CHANNEL_1) != HAL_OK)
  {
    Error_Handler();
  }
  HAL_TIM_MspPostInit(&htim4);

}

static void MX_TIM5_Init(void)
{

  TIM_ClockConfigTypeDef sClockSourceConfig = {0};
  TIM_MasterConfigTypeDef sMasterConfig = {0};

  htim5.Instance = TIM5;
  htim5.Init.Prescaler = 53-1;
  htim5.Init.CounterMode = TIM_COUNTERMODE_UP;
  htim5.Init.Period = 60000-1;
  htim5.Init.ClockDivision = TIM_CLOCKDIVISION_DIV1;
  htim5.Init.AutoReloadPreload = TIM_AUTORELOAD_PRELOAD_ENABLE;
  if (HAL_TIM_Base_Init(&htim5) != HAL_OK)
  {
    Error_Handler();
  }
  sClockSourceConfig.ClockSource = TIM_CLOCKSOURCE_INTERNAL;
  if (HAL_TIM_ConfigClockSource(&htim5, &sClockSourceConfig) != HAL_OK)
  {
    Error_Handler();
  }
  sMasterConfig.MasterOutputTrigger = TIM_TRGO_RESET;
  sMasterConfig.MasterSlaveMode = TIM_MASTERSLAVEMODE_DISABLE;
  if (HAL_TIMEx_MasterConfigSynchronization(&htim5, &sMasterConfig) != HAL_OK)
  {
    Error_Handler();
  }

}

static void MX_USART2_UART_Init(void)
{

  huart2.Instance = USART2;
  huart2.Init.BaudRate = 115200;
  huart2.Init.WordLength = UART_WORDLENGTH_8B;
  huart2.Init.StopBits = UART_STOPBITS_1;
  huart2.Init.Parity = UART_PARITY_NONE;
  huart2.Init.Mode = UART_MODE_TX_RX;
  huart2.Init.HwFlowCtl = UART_HWCONTROL_NONE;
  huart2.Init.OverSampling = UART_OVERSAMPLING_16;
  if (HAL_UART_Init(&huart2) != HAL_OK)
  {
    Error_Handler();
  }

}

static void MX_USART6_UART_Init(void)
{

  huart6.Instance = USART6;
  huart6.Init.BaudRate = 9600;
  huart6.Init.WordLength = UART_WORDLENGTH_8B;
  huart6.Init.StopBits = UART_STOPBITS_1;
  huart6.Init.Parity = UART_PARITY_NONE;
  huart6.Init.Mode = UART_MODE_TX_RX;
  huart6.Init.HwFlowCtl = UART_HWCONTROL_NONE;
  huart6.Init.OverSampling = UART_OVERSAMPLING_16;
  if (HAL_UART_Init(&huart6) != HAL_OK)
  {
    Error_Handler();
  }

}

static void MX_GPIO_Init(void)
{
  GPIO_InitTypeDef GPIO_InitStruct = {0};

  /* GPIO Ports Clock Enable */
  __HAL_RCC_GPIOC_CLK_ENABLE();
  __HAL_RCC_GPIOH_CLK_ENABLE();
  __HAL_RCC_GPIOA_CLK_ENABLE();
  __HAL_RCC_GPIOB_CLK_ENABLE();

  /*Configure GPIO pin Output Level */
  HAL_GPIO_WritePin(GPIOC, B1_Pin|B3_Pin|A0_Pin|B2_Pin
                          |GPIO_PIN_4|RED_Pin|GRN_Pin|BLU_Pin
                          |A3_Pin|A2_Pin|A1_Pin, GPIO_PIN_RESET);

  /*Configure GPIO pin Output Level */
  HAL_GPIO_WritePin(LD2_GPIO_Port, LD2_Pin, GPIO_PIN_RESET);

  /*Configure GPIO pin Output Level */
  HAL_GPIO_WritePin(GPIOB, HCSR04_TRIG_Pin|GPIO_PIN_4|B0_Pin, GPIO_PIN_RESET);

  /*Configure GPIO pin : BLUE_BUTTON_Pin */
  GPIO_InitStruct.Pin = BLUE_BUTTON_Pin;
  GPIO_InitStruct.Mode = GPIO_MODE_IT_FALLING;
  GPIO_InitStruct.Pull = GPIO_NOPULL;
  HAL_GPIO_Init(BLUE_BUTTON_GPIO_Port, &GPIO_InitStruct);

  /*Configure GPIO pins : B1_Pin B3_Pin A0_Pin B2_Pin
                           PC4 RED_Pin GRN_Pin BLU_Pin
                           A3_Pin A2_Pin A1_Pin */
  GPIO_InitStruct.Pin = B1_Pin|B3_Pin|A0_Pin|B2_Pin
                          |GPIO_PIN_4|RED_Pin|GRN_Pin|BLU_Pin
                          |A3_Pin|A2_Pin|A1_Pin;
  GPIO_InitStruct.Mode = GPIO_MODE_OUTPUT_PP;
  GPIO_InitStruct.Pull = GPIO_NOPULL;
  GPIO_InitStruct.Speed = GPIO_SPEED_FREQ_LOW;
  HAL_GPIO_Init(GPIOC, &GPIO_InitStruct);

  /*Configure GPIO pin : RPM_Pin */
  GPIO_InitStruct.Pin = RPM_Pin;
  GPIO_InitStruct.Mode = GPIO_MODE_IT_RISING;
  GPIO_InitStruct.Pull = GPIO_NOPULL;
  HAL_GPIO_Init(RPM_GPIO_Port, &GPIO_InitStruct);

  /*Configure GPIO pin : LD2_Pin */
  GPIO_InitStruct.Pin = LD2_Pin;
  GPIO_InitStruct.Mode = GPIO_MODE_OUTPUT_PP;
  GPIO_InitStruct.Pull = GPIO_NOPULL;
  GPIO_InitStruct.Speed = GPIO_SPEED_FREQ_LOW;
  HAL_GPIO_Init(LD2_GPIO_Port, &GPIO_InitStruct);

  /*Configure GPIO pins : HCSR04_TRIG_Pin PB4 B0_Pin */
  GPIO_InitStruct.Pin = HCSR04_TRIG_Pin|GPIO_PIN_4|B0_Pin;
  GPIO_InitStruct.Mode = GPIO_MODE_OUTPUT_PP;
  GPIO_InitStruct.Pull = GPIO_NOPULL;
  GPIO_InitStruct.Speed = GPIO_SPEED_FREQ_LOW;
  HAL_GPIO_Init(GPIOB, &GPIO_InitStruct);

  /* EXTI interrupt init*/
  HAL_NVIC_SetPriority(EXTI4_IRQn, 0, 0);
  HAL_NVIC_EnableIRQ(EXTI4_IRQn);

}

/* USER CODE BEGIN 4 */
void HAL_TIM_IC_CaptureCallback(TIM_HandleTypeDef *htim)
{
	if (htim->Instance == TIM3)
	{
		if (htim->Channel == 2)
		{
			if (first_edge == 0)
			{
				time_edge1 = HAL_TIM_ReadCapturedValue(htim, TIM_CHANNEL_2);
				first_edge = 1;
			}

	else
			{
				time_edge2 = HAL_TIM_ReadCapturedValue(htim, TIM_CHANNEL_2);
				__HAL_TIM_SET_COUNTER(htim, 0);
				hcsr04_Rx_flag = 1;
			}
		}
	}
}

void HAL_UART_RxCpltCallback(UART_HandleTypeDef *huart) {
	if (huart->Instance == USART6) {

		HAL_UART_Transmit(&huart6, &byte, 1, 100);
		rcv_intpt_flag = 1;
	}
}

void EXTI15_10_IRQHandler(void)
{
    HAL_GPIO_EXTI_IRQHandler(BLUE_BUTTON_Pin); // Call the HAL interrupt handler
}

void HAL_GPIO_EXTI_Callback(uint16_t GPIO_Pin)
{
    if (GPIO_Pin == BLUE_BUTTON_Pin) // Check if it is the BLUE_BUTTON
    {
        // Handle button press
        button_pushed = 1;
    }
    if (GPIO_Pin == RPM_Pin) {
    	if (button_pushed) rpm_tick_count += 1;
    }
}

void HAL_TIM_PeriodElapsedCallback(TIM_HandleTypeDef *htim) {

	if (htim->Instance == TIM5) {
		clock_mins += 1;
		rpm_mins += 1;
		clock_secs = 0;
		if ((clock_mins == 60 )) {
				clock_hours += 1;
				clock_mins = 0;
				wall_clock_hr_update_flag = 1;
		}
	}
}

/* USER CODE END 4 */

void Error_Handler(void)
{
  __disable_irq();
  while (1)
  {
  }
}
